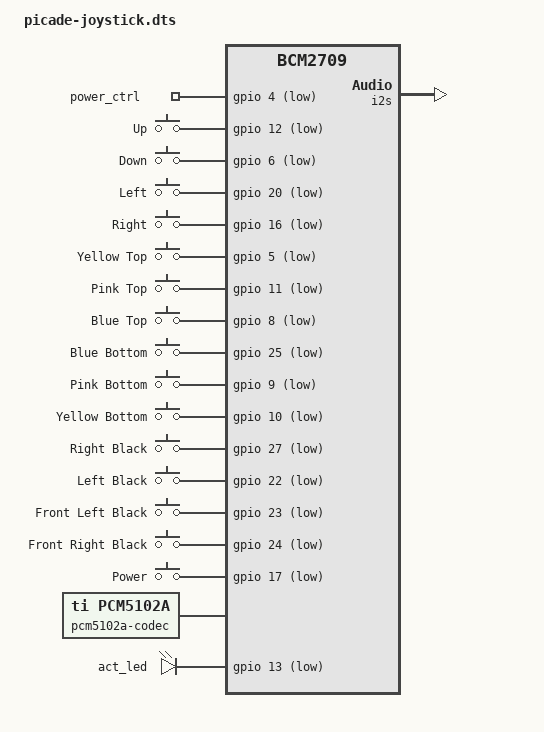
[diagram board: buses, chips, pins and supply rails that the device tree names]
/dts-v1/;
/plugin/;
#include <linux/input-event-codes.h>

/ {
	compatible = "brcm,bcm2835", "brcm,bcm2708", "brcm,bcm2709";

	fragment@0 {
		target = <&gpio>;
		__overlay__ {
			picade_pins: picade_pins {
				brcm,pins = <5 6 8 9 10 11 12 16 20 22 23 24 25 27>;
				brcm,function = <0>;
				brcm,pull = <2>;
			};
			power_ctrl_pins: power_ctrl_pins {
				brcm,pins = <4>;
				brcm,function = <1>;
			};
			shutdown_button_pins: shutdown_button_pins {
				brcm,pins = <17>;
				brcm,function = <0>;
			};
		};
	};
	
	fragment@1 {
		target-path = "/";
		__overlay__ {
			power_ctrl: power_ctrl {
				compatible = "gpio-poweroff";
				gpios = <&gpio 4 1>;
				force;
			};
		};
	};

	fragment@2 {
		target-path = "/";
		__overlay__ {
			gpio_keys: gpio_keys {
				compatible = "gpio-keys";
				pinctrl-names = "default";
				pinctrl-0 = <&picade_pins>;
				status = "okay";

				/*up_joy: up_joy {
					label = "Up";
					linux,input-type = <EV_ABS>;
					linux,code = <ABS_Y>;
					linux,input-value = <1>;
					gpios = <&gpio 12 1>; 
				};

				down_joy: down_joy {
					label = "Down";
					linux,input-type = <EV_ABS>;
					linux,code = <ABS_Y>;
					linux,input-value = <0xffffffff>; // -1
					gpios = <&gpio 6 1>;
				};

				left_joy: left_joy {
					label = "Left";
					linux,input-type = <EV_ABS>;
					linux,code = <ABS_X>;
					linux,input-value = <0xffffffff>; // -1
					gpios = <&gpio 20 1>;
				};

				right_joy: right_joy {
					label = "Right";
					linux,input-type = <EV_ABS>;
					linux,code = <ABS_X>;
					linux,input-value = <1>;
					gpios = <&gpio 16 1>;
				};*/

				up: up {
					label = "Up";
					linux,code = <KEY_UP>;
					gpios = <&gpio 12 1>;
				};

				down: down {
					label = "Down";
					linux,code = <KEY_DOWN>;
					gpios = <&gpio 6 1>;
				};

				left: left {
					label = "Left";
					linux,code = <KEY_LEFT>;
					gpios = <&gpio 20 1>;
				};

				right: right {
					label = "Right";
					linux,code = <KEY_RIGHT>;
					gpios = <&gpio 16 1>;
				};

				button1: button1 {
					label = "Yellow Top";
					linux,code = <BTN_A>;
					gpios = <&gpio 5 1>;
				};

				button2: button2 {
					label = "Pink Top";
					linux,code = <BTN_B>;
					gpios = <&gpio 11 1>;
				};

				button3: button3 {
					label = "Blue Top";
					linux,code = <BTN_C>;
					gpios = <&gpio 8 1>;
				};

				button4: button4 {
					label = "Blue Bottom";
					linux,code = <BTN_Z>;
					gpios = <&gpio 25 1>;
				};

				button5: button5 {
					label = "Pink Bottom";
					linux,code = <BTN_Y>;
					gpios = <&gpio 9 1>;
				};

				button6: button6 {
					label = "Yellow Bottom";
					linux,code = <BTN_X>;
					gpios = <&gpio 10 1>;
				};

				enter: enter {
					label = "Right Black";
					linux,code = <BTN_TR2>;
					gpios = <&gpio 27 1>;
				};

				escape: escape {
					label = "Left Black";
					linux,code = <BTN_TL2>;
					gpios = <&gpio 22 1>;
				};

				coin: coin {
					label = "Front Left Black";
					linux,code = <BTN_TL>;
					gpios = <&gpio 23 1>;
				};

				start: start {
					label = "Front Right Black";
					linux,code = <BTN_TR>;
					gpios = <&gpio 24 1>;
				};
			};
		};
	};

	fragment@3 {
		target = <&i2s_pins>;
		__overlay__ {
			/*
			We cannot share BCM 20 between gpio keys (Left) and i2s (PCM_DIN)
			Assign PCM_DIN to the HAT EEPROM (ID_SD) pin which should be generally unused.
			*/
			brcm,pins = <18 19 0 21>;
			brcm,function = <4 4 0 4>;
		};
	};

	fragment@4 {
		target = <&i2s>;
		__overlay__ {
			status = "okay";
		};
	};

	fragment@5 {
		target-path = "/";
		__overlay__ {
			pcm5102a-codec {
				#sound-dai-cells = <0>;
				compatible = "ti,pcm5102a";
				status = "okay";
			};
		};
	};

	fragment@6 {
		target = <&sound>;
		__overlay__ {
			compatible = "hifiberry,hifiberry-dac";
			i2s-controller = <&i2s>;
			status = "okay";
		};
	};

	fragment@7 {
		target = <&act_led>;
		__overlay__ {
			linux,default-trigger = "default-on";
			gpios = <&gpio 13 1>;
		};
	};

	fragment@8 {
		target = <&gpio_keys>;
		__overlay__ {
			power: power {
				label = "Power";
				linux,code = <116>; // KEY_POWER
				gpios = <&gpio 17 1>;
			};
		};
	};

	__overrides__ {
		/*up_joy = <&up_joy>,"linux,code:0";
		down_joy = <&down_joy>,"linux,code:0";
		left_joy = <&left_joy>,"linux,code:0";
		right_joy = <&right_joy>,"linux,code:0";*/
		up = <&up>,"linux,code:0";
		down = <&down>,"linux,code:0";
		left = <&left>,"linux,code:0";
		right = <&right>,"linux,code:0";
		button1 = <&button1>,"linux,code:0";
		button2 = <&button2>,"linux,code:0";
		button3 = <&button3>,"linux,code:0";
		button4 = <&button4>,"linux,code:0";
		button5 = <&button5>,"linux,code:0";
		button6 = <&button6>,"linux,code:0";
		enter = <&enter>,"linux,code:0";
		escape = <&escape>,"linux,code:0";
		coin = <&coin>,"linux,code:0";
		start = <&start>,"linux,code:0";
		led-trigger = <&act_led>,"linux,default-trigger";
		noaudio = <0>,"-3-4-5-6";
		noactled = <0>,"-7";
		nopowerbtn = <0>,"-8";
		nopoweroff = <0>,"-1";
	};
};
